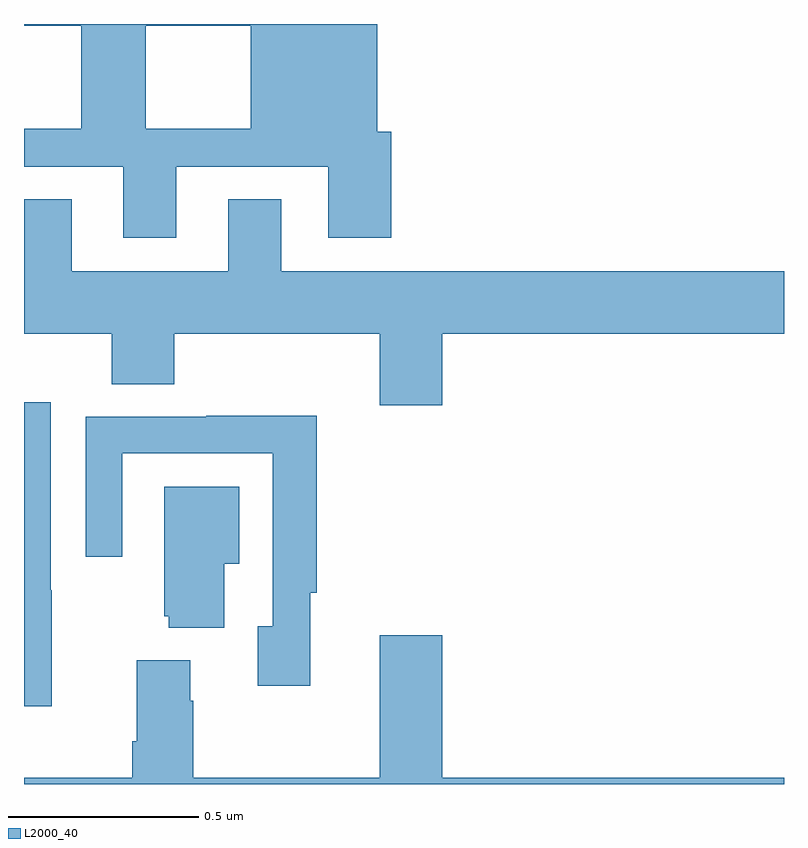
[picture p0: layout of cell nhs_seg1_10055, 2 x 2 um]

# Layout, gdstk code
import gdstk
lib = gdstk.Library(unit=1e-6, precision=1e-09)
def P(c, l, *ps):  # polygons
    for p in ps: c.add(gdstk.Polygon(p, *l))
L2000_40 = (2000, 40)

nhs_seg1_10055 = lib.new_cell('nhs_seg1_10055')
P(nhs_seg1_10055, L2000_40, [(236.401,566.823),(236.801,566.823),(236.801,566.637),(236.966,566.637),(236.966,566.916),(236.929,566.916),(236.929,567.199),(236,567.199),(236,567.194),(236.15,567.194),(236.15,566.924),(236.32,566.924),(236.32,567.194),(236.597,567.194),(236.597,566.924),(236.32,566.924),(236.15,566.924),(236,566.924),(236,566.823),(236.261,566.823),(236.261,566.637),(236.401,566.637)],
  [(237.1,566.384),(238,566.384),(238,566.548),(236.677,566.548),(236.677,566.738),(236.537,566.738),(236.537,566.548),(236.125,566.548),(236.125,566.738),(236,566.738),(236,566.384),(236.231,566.384),(236.231,566.251),(236.396,566.251),(236.396,566.384),(236.936,566.384),(236.936,566.196),(237.1,566.196)],
  [(236.073,565.709),(236.07,565.709),(236.07,566.203),(236,566.203),(236,565.403),(236.073,565.403)],
  [(236.753,565.702),(236.771,565.702),(236.771,566.168),(236.479,566.168),(236.479,566.166),(236.163,566.166),(236.163,565.797),(236.259,565.797),(236.259,566.07),(236.655,566.07),(236.655,565.614),(236.615,565.614),(236.615,565.458),(236.753,565.458)],
  [(236.527,565.778),(236.566,565.778),(236.566,565.981),(236.369,565.981),(236.369,565.641),(236.381,565.641),(236.381,565.61),(236.527,565.61)],
  [(238,565.216),(237.1,565.216),(237.1,565.591),(236.936,565.591),(236.936,565.216),(236.445,565.216),(236.445,565.418),(236.437,565.418),(236.437,565.525),(236.297,565.525),(236.297,565.312),(236.285,565.312),(236.285,565.216),(236,565.216),(236,565.199),(238,565.199)])

lib.write_gds('nhs_seg1_10055.gds')
